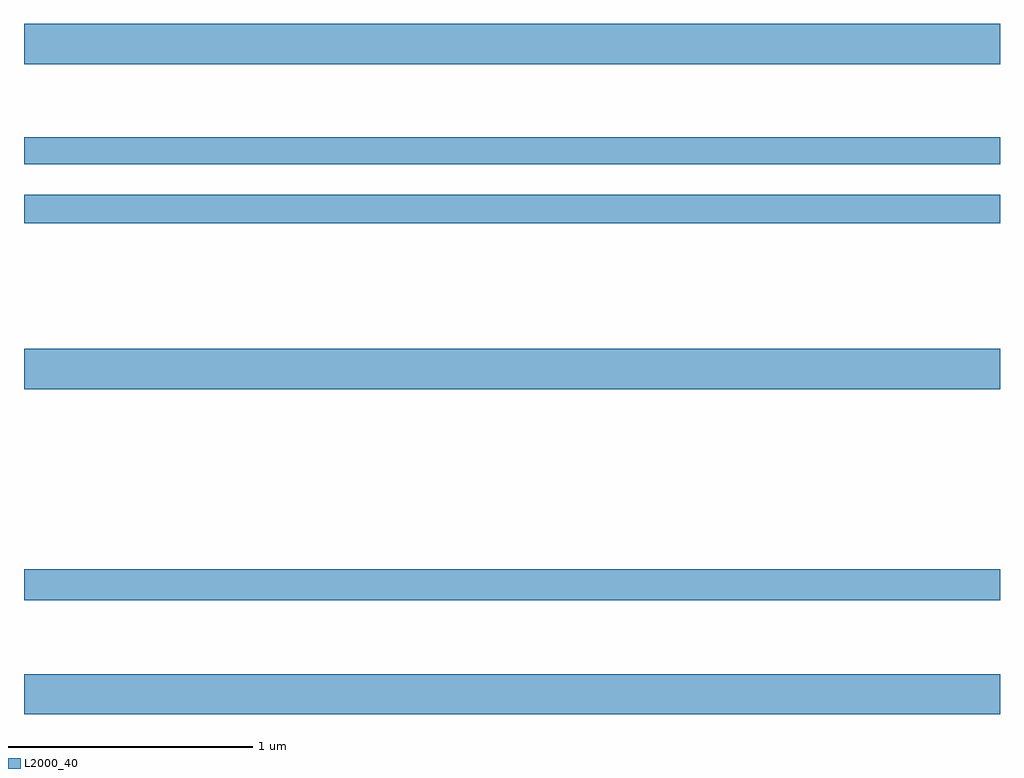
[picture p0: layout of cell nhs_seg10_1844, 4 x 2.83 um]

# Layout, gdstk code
import gdstk
lib = gdstk.Library(unit=1e-6, precision=1e-09)
def R(c, l, rs):  # rectangles x0, y0, x1, y1
    for r in rs: c.add(gdstk.rectangle(r[:2], r[2:], *l))
def A(c, l, x, y, w, h, nx, ny, dx, dy):  # array of equal rectangles
    R(c, l, [(x+i*dx, y+j*dy, x+i*dx+w, y+j*dy+h) for i in range(nx) for j in range(ny)])
L2000_40 = (2000, 40)

nhs_seg10_1844 = lib.new_cell('nhs_seg10_1844')
A(nhs_seg10_1844, L2000_40, 207, 1317.632, 4, 0.164, 1, 3, 0, 1.332)
R(nhs_seg10_1844, L2000_40, [(207,1318.098,211,1318.226), (207,1319.644,211,1319.76), (207,1319.886,211,1319.995)])

lib.write_gds('nhs_seg10_1844.gds')
